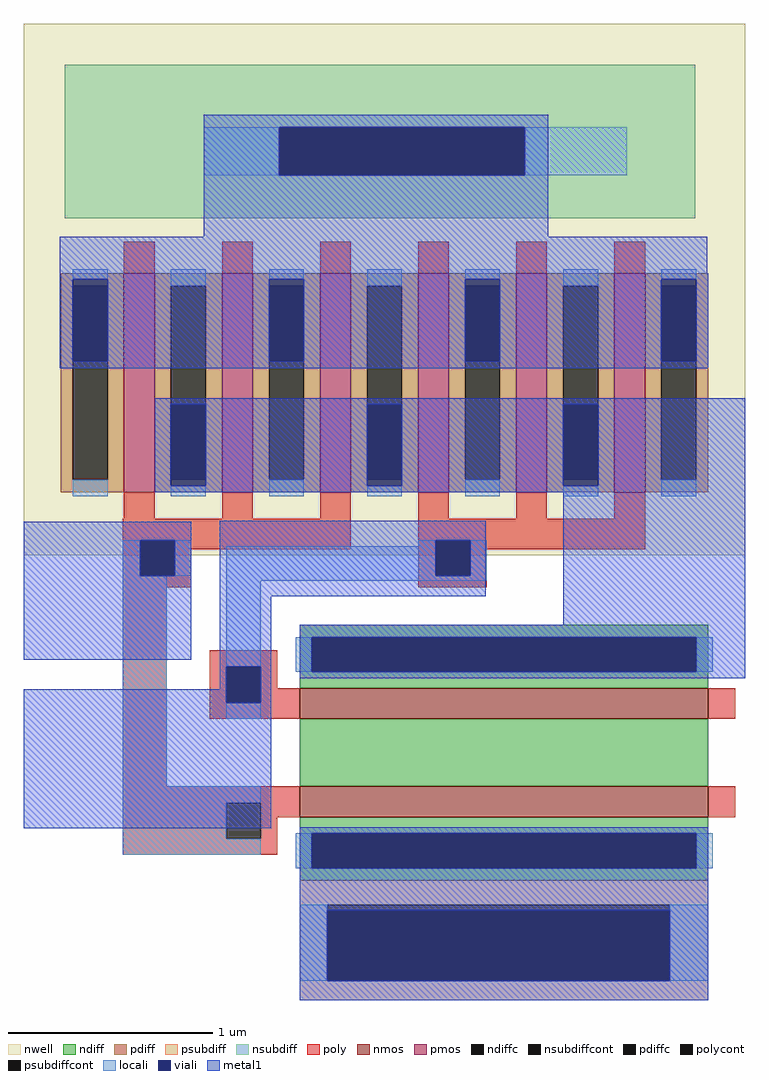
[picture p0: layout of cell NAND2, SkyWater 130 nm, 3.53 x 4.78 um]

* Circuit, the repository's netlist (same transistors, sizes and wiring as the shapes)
* SPICE3 file created from NAND2.ext - technology: sky130B

.subckt nmos_2shared_W200-L015-F1 a_63_n200# a_n63_n226# a_33_n226# a_n125_n200# VSUBS
X0 a_n33_n200# a_n63_n226# a_n125_n200# VSUBS sky130_fd_pr__nfet_01v8 ad=0.33 pd=2.33 as=0.62 ps=4.62 w=2 l=0.15
X1 a_63_n200# a_33_n226# a_n33_n200# VSUBS sky130_fd_pr__nfet_01v8 ad=0.62 pd=4.62 as=0.33 ps=2.33 w=2 l=0.15
.ends

.subckt pmos_p2-w321-L015-f3 a_n317_n107# w_n353_n143# a_n225_n107# a_33_n138# a_n255_n138#
+ VSUBS
X0 a_n225_n107# a_33_n138# a_n317_n107# w_n353_n143# sky130_fd_pr__pfet_01v8 ad=0.17655 pd=1.4 as=0.17655 ps=1.4 w=1.07 l=0.15
X1 a_n225_n107# a_n255_n138# a_n317_n107# w_n353_n143# sky130_fd_pr__pfet_01v8 ad=0.17655 pd=1.4 as=0.3317 ps=2.76 w=1.07 l=0.15
X2 a_n317_n107# a_33_n138# a_n225_n107# w_n353_n143# sky130_fd_pr__pfet_01v8 ad=0.17655 pd=1.4 as=0.17655 ps=1.4 w=1.07 l=0.15
X3 a_n317_n107# a_n255_n138# a_n225_n107# w_n353_n143# sky130_fd_pr__pfet_01v8 ad=0.17655 pd=1.4 as=0.17655 ps=1.4 w=1.07 l=0.15
X4 a_n225_n107# a_n255_n138# a_n317_n107# w_n353_n143# sky130_fd_pr__pfet_01v8 ad=0.17655 pd=1.4 as=0.17655 ps=1.4 w=1.07 l=0.15
X5 a_n317_n107# a_33_n138# a_n225_n107# w_n353_n143# sky130_fd_pr__pfet_01v8 ad=0.3317 pd=2.76 as=0.17655 ps=1.4 w=1.07 l=0.15
.ends

.subckt nand2 A B VSS Y
Xnmos_2shared_W200-L015-F1_0 VSS B A Y VSS nmos_2shared_W200-L015-F1
Xpmos_p2-w321-L015-f3_0 VDD VDD Y B A VSS pmos_p2-w321-L015-f3
.ends

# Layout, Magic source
magic
tech sky130B
magscale 1 2
<< nwell >>
rect 356 372 1062 892
<< nmos >>
rect 626 212 1026 242
rect 626 116 1026 146
<< pmos >>
rect 454 434 484 648
rect 550 434 580 648
rect 646 434 676 648
rect 742 434 772 648
rect 838 434 868 648
rect 934 434 964 648
<< ndiff >>
rect 626 292 1026 304
rect 626 258 638 292
rect 1014 258 1026 292
rect 626 242 1026 258
rect 626 146 1026 212
rect 626 100 1026 116
rect 626 66 638 100
rect 1014 66 1026 100
rect 626 54 1026 66
<< pdiff >>
rect 392 636 454 648
rect 392 446 404 636
rect 438 446 454 636
rect 392 434 454 446
rect 484 636 550 648
rect 484 446 500 636
rect 534 446 550 636
rect 484 434 550 446
rect 580 636 646 648
rect 580 446 596 636
rect 630 446 646 636
rect 580 434 646 446
rect 676 636 742 648
rect 676 446 692 636
rect 726 446 742 636
rect 676 434 742 446
rect 772 636 838 648
rect 772 446 788 636
rect 822 446 838 636
rect 772 434 838 446
rect 868 636 934 648
rect 868 446 884 636
rect 918 446 934 636
rect 868 434 934 446
rect 964 636 1026 648
rect 964 446 980 636
rect 1014 446 1026 636
rect 964 434 1026 446
<< ndiffc >>
rect 638 258 1014 292
rect 638 66 1014 100
<< pdiffc >>
rect 404 446 438 636
rect 500 446 534 636
rect 596 446 630 636
rect 692 446 726 636
rect 788 446 822 636
rect 884 446 918 636
rect 980 446 1014 636
<< psubdiff >>
rect 626 30 1026 54
rect 626 -44 653 30
rect 988 -44 1026 30
rect 626 -63 1026 -44
<< nsubdiff >>
rect 396 791 1013 852
rect 396 744 606 791
rect 846 744 1013 791
rect 396 702 1013 744
<< psubdiffcont >>
rect 653 -44 988 30
<< nsubdiffcont >>
rect 606 744 846 791
<< poly >>
rect 454 648 484 679
rect 550 648 580 679
rect 646 648 676 679
rect 742 648 772 679
rect 838 648 868 679
rect 934 648 964 679
rect 454 408 484 434
rect 550 408 580 434
rect 646 408 676 434
rect 453 387 676 408
rect 453 352 470 387
rect 504 378 676 387
rect 742 408 772 434
rect 838 408 868 434
rect 934 408 964 434
rect 742 387 964 408
rect 504 352 520 378
rect 453 341 520 352
rect 742 352 759 387
rect 793 378 964 387
rect 793 352 809 378
rect 742 341 809 352
rect 453 146 496 341
rect 538 263 604 279
rect 538 228 554 263
rect 588 242 604 263
rect 588 228 626 242
rect 538 212 626 228
rect 1026 212 1052 242
rect 453 130 626 146
rect 453 95 554 130
rect 588 116 626 130
rect 1026 116 1052 146
rect 588 95 604 116
rect 453 79 604 95
<< polycont >>
rect 470 352 504 387
rect 759 352 793 387
rect 554 228 588 263
rect 554 95 588 130
<< locali >>
rect 532 744 606 791
rect 846 744 946 791
rect 404 642 438 652
rect 404 430 438 446
rect 500 636 534 652
rect 500 430 534 440
rect 596 642 630 652
rect 596 430 630 446
rect 692 636 726 652
rect 692 430 726 440
rect 788 642 822 652
rect 788 430 822 446
rect 884 636 918 652
rect 884 430 918 440
rect 980 642 1014 652
rect 980 430 1014 446
rect 453 352 470 387
rect 504 352 520 387
rect 742 381 759 387
rect 554 352 759 381
rect 793 352 809 387
rect 453 146 496 352
rect 554 347 809 352
rect 554 263 588 347
rect 622 258 638 292
rect 1014 258 1030 292
rect 554 212 588 228
rect 453 130 588 146
rect 453 95 554 130
rect 453 79 588 95
rect 622 66 638 100
rect 1014 66 1030 100
rect 626 -44 653 30
rect 988 -44 1026 30
<< viali >>
rect 606 744 846 791
rect 404 636 438 642
rect 404 562 438 636
rect 500 446 534 520
rect 500 440 534 446
rect 596 636 630 642
rect 596 562 630 636
rect 692 446 726 520
rect 692 440 726 446
rect 788 636 822 642
rect 788 562 822 636
rect 884 446 918 520
rect 884 440 918 446
rect 980 636 1014 642
rect 980 562 1014 636
rect 470 352 504 387
rect 759 352 793 387
rect 554 228 588 263
rect 638 258 1014 292
rect 638 66 1014 100
rect 653 -44 988 25
<< metal1 >>
rect 532 791 869 803
rect 532 744 606 791
rect 846 744 869 791
rect 532 684 869 744
rect 391 648 1025 684
rect 391 642 1026 648
rect 391 562 404 642
rect 438 562 596 642
rect 630 562 788 642
rect 822 562 980 642
rect 1014 562 1026 642
rect 391 556 1026 562
rect 391 555 1025 556
rect 484 520 1062 526
rect 484 440 500 520
rect 534 440 692 520
rect 726 440 884 520
rect 918 440 1062 520
rect 484 434 1062 440
rect 356 387 520 405
rect 356 352 470 387
rect 504 352 520 387
rect 356 270 520 352
rect 548 387 808 406
rect 548 352 759 387
rect 793 352 808 387
rect 548 332 808 352
rect 548 263 598 332
rect 884 304 1062 434
rect 548 241 554 263
rect 356 228 554 241
rect 588 228 598 263
rect 626 292 1062 304
rect 626 258 638 292
rect 1014 258 1062 292
rect 626 252 1062 258
rect 356 105 598 228
rect 626 100 1026 106
rect 626 66 638 100
rect 1014 66 1026 100
rect 626 25 1026 66
rect 626 -44 653 25
rect 988 -44 1026 25
rect 626 -63 1026 -44
<< end >>
